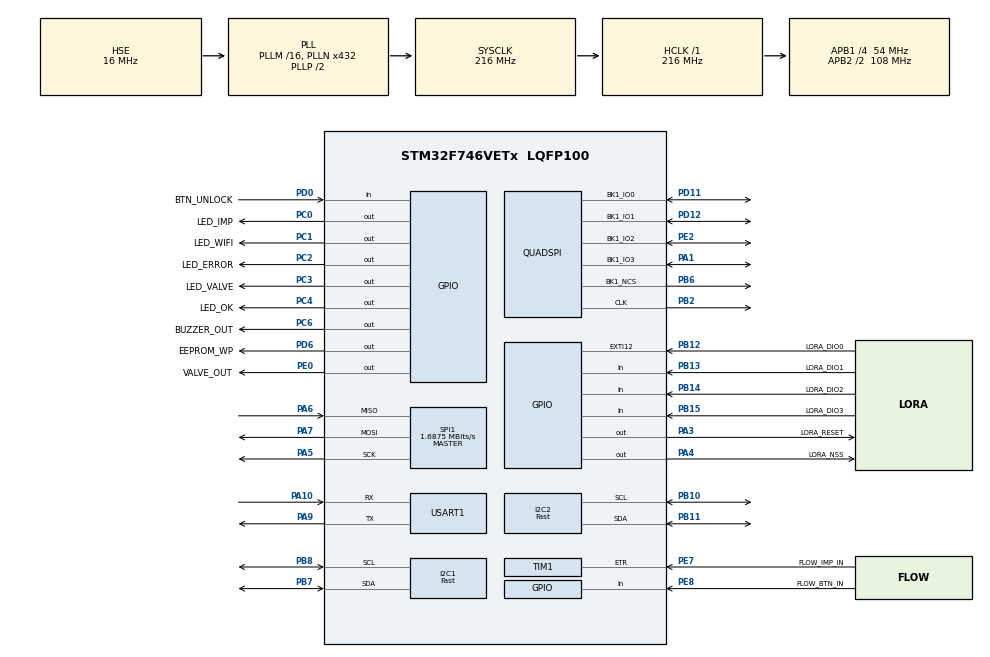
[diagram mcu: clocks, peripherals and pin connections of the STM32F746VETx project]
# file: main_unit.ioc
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CORTEX_M7.MPU_Control=__NULL
CORTEX_M7.default_mode_Activation=1
I2C1.I2C_Speed_Mode=I2C_Fast
I2C1.Timing=0x6000030D
I2C2.I2C_Speed_Mode=I2C_Fast
I2C2.Timing=0x6000030D
Mcu.Family=STM32F7
Mcu.Name=STM32F746VETx
Mcu.Package=LQFP100
NVIC.EXTI15_10_IRQn=true\:0\:0\:false\:false\:true\:true\:true\:true
NVIC.PriorityGroup=NVIC_PRIORITYGROUP_4
NVIC.USART1_IRQn=true\:0\:0\:false\:false\:true\:true\:true\:true
PA1.Mode=Single Bank 1
PA1.Signal=QUADSPI_BK1_IO3
PA10.Mode=Asynchronous
PA10.Signal=USART1_RX
PA11.Signal=USART1_CTS
PA12.Signal=USART1_RTS
PA13.Mode=Serial_Wire
PA13.Signal=SYS_JTMS-SWDIO
PA14.Mode=Serial_Wire
PA14.Signal=SYS_JTCK-SWCLK
PA3.GPIO_Label=LORA_RESET
PA3.PinState=GPIO_PIN_SET
PA3.Signal=GPIO_Output
PA4.GPIO_Label=LORA_NSS
PA4.GPIO_PuPd=GPIO_PULLUP
PA4.PinState=GPIO_PIN_SET
PA4.Signal=GPIO_Output
PA5.GPIO_Speed=GPIO_SPEED_FREQ_HIGH
PA5.Mode=Full_Duplex_Master
PA5.Signal=SPI1_SCK
PA6.GPIO_PuPd=GPIO_PULLUP
PA6.GPIO_Speed=GPIO_SPEED_FREQ_HIGH
PA6.Mode=Full_Duplex_Master
PA6.Signal=SPI1_MISO
PA7.GPIO_Speed=GPIO_SPEED_FREQ_HIGH
PA7.Mode=Full_Duplex_Master
PA7.Signal=SPI1_MOSI
PA9.Mode=Asynchronous
PA9.Signal=USART1_TX
PB10.Mode=I2C
PB10.Signal=I2C2_SCL
PB11.Mode=I2C
PB11.Signal=I2C2_SDA
PB12.GPIO_Label=LORA_DIO0
PB12.Signal=GPXTI12
PB13.GPIO_Label=LORA_DIO1
PB13.Signal=GPIO_Input
PB14.GPIO_Label=LORA_DIO2
PB14.Signal=GPIO_Input
PB15.GPIO_Label=LORA_DIO3
PB15.Signal=GPIO_Input
PB2.Mode=Single Bank 1
PB2.Signal=QUADSPI_CLK
PB6.Mode=Single Bank 1
PB6.Signal=QUADSPI_BK1_NCS
PB7.Mode=I2C
PB7.Signal=I2C1_SDA
PB8.Mode=I2C
PB8.Signal=I2C1_SCL
PC0.GPIO_Label=LED_IMP
PC0.Signal=GPIO_Output
PC1.GPIO_Label=LED_WIFI
PC1.Signal=GPIO_Output
PC14/OSC32_IN.Mode=LSE-External-Oscillator
PC14/OSC32_IN.Signal=RCC_OSC32_IN
PC15/OSC32_OUT.Mode=LSE-External-Oscillator
PC15/OSC32_OUT.Signal=RCC_OSC32_OUT
PC2.GPIO_Label=LED_ERROR
PC2.Signal=GPIO_Output
PC3.GPIO_Label=LED_VALVE
PC3.Signal=GPIO_Output
PC4.GPIO_Label=LED_OK
PC4.Signal=GPIO_Output
PC6.GPIO_Label=BUZZER_OUT
PC6.Signal=GPIO_Output
PD0.GPIO_Label=BTN_UNLOCK
PD0.GPIO_PuPd=GPIO_PULLUP
PD0.Signal=GPIO_Input
PD11.Mode=Single Bank 1
PD11.Signal=QUADSPI_BK1_IO0
PD12.Mode=Single Bank 1
PD12.Signal=QUADSPI_BK1_IO1
PD6.GPIO_Label=EEPROM_WP
PD6.Signal=GPIO_Output
PE0.GPIO_Label=VALVE_OUT
PE0.Signal=GPIO_Output
PE2.Mode=Single Bank 1
PE2.Signal=QUADSPI_BK1_IO2
PE7.GPIO_Label=FLOW_IMP_IN
PE7.Signal=S_TIM1_ETR
PE8.GPIO_Label=FLOW_BTN_IN
PE8.Signal=GPIO_Input
PH0/OSC_IN.Mode=HSE-External-Oscillator
PH0/OSC_IN.Signal=RCC_OSC_IN
PH1/OSC_OUT.Mode=HSE-External-Oscillator
PH1/OSC_OUT.Signal=RCC_OSC_OUT
ProjectManager.HeapSize=0x200
ProjectManager.StackSize=0x400
ProjectManager.TargetToolchain=STM32CubeIDE
QUADSPI.ClockPrescaler=3
QUADSPI.FlashSize=21
QUADSPI.SampleShifting=QSPI_SAMPLE_SHIFTING_HALFCYCLE
RCC.AHBFreq_Value=216000000
RCC.APB1CLKDivider=RCC_HCLK_DIV4
RCC.APB1Freq_Value=54000000
RCC.APB1TimFreq_Value=108000000
RCC.APB2CLKDivider=RCC_HCLK_DIV2
RCC.APB2Freq_Value=108000000
RCC.APB2TimFreq_Value=216000000
RCC.CortexFreq_Value=216000000
RCC.HCLKFreq_Value=216000000
RCC.HSE_VALUE=16000000
RCC.HSI_VALUE=16000000
RCC.PLLN=432
RCC.PLLSourceVirtual=RCC_PLLSOURCE_HSE
RCC.SYSCLKFreq_VALUE=216000000
RCC.SYSCLKSource=RCC_SYSCLKSOURCE_PLLCLK
RCC.USBFreq_Value=216000000
RCC.VCOOutputFreq_Value=432000000
SH.S_TIM1_ETR.0=TIM1_ETR,ClockSourceETR_Mode2
SPI1.BaudRatePrescaler=SPI_BAUDRATEPRESCALER_64
SPI1.CalculateBaudRate=1.6875 MBits/s
SPI1.DataSize=SPI_DATASIZE_8BIT
SPI1.Direction=SPI_DIRECTION_2LINES
SPI1.Mode=SPI_MODE_MASTER
SPI1.VirtualType=VM_MASTER
USART1.VirtualMode-Asynchronous=VM_ASYNC
board=custom

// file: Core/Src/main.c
/* USER CODE BEGIN Header */
/**
  ******************************************************************************
  * @file           : main.c
  * @brief          : Main program body
  ******************************************************************************
  * @attention
  *
  * Copyright (c) 2024 STMicroelectronics.
  * All rights reserved.
  *
  * This software is licensed under terms that can be found in the LICENSE file
  * in the root directory of this software component.
  * If no LICENSE file comes with this software, it is provided AS-IS.
  *
  ******************************************************************************
  */
/* USER CODE END Header */
#include "main.h"
#include "i2c.h"
#include "quadspi.h"
#include "spi.h"
#include "tim.h"
#include "usart.h"
#include "gpio.h"

/* USER CODE BEGIN Includes */
#include <string.h>
#include <stdio.h>
#include "quadspi_1.h"
#include "SX1278.h"
#include "ring_buffer.h"
/* USER CODE END Includes */

/* USER CODE BEGIN PD */
#define esp_uart huart1
#define ESP_TRANSMIT_BUFF_SIZE 64
#define ESP_PARSE_BUFF_SIZE 64

char echo_off[] = "ATE0";
char init_wifi[] = "AT+CWINIT=1";
char wifi_mode[] = "AT+CWMODE=1";
char wifi_no_autoconnect[] = "AT+CWAUTOCONN=0";
char wifi_connect[] = "AT+CWJAP=\"DM_TT\",\"W0B35d8y\"";
char ntp_pool[] = "AT+CIPSNTPCFG=1,2,\"pl.pool.ntp.org\"";
char query_time[] = "AT+CIPSNTPTIME?";
/* USER CODE END PD */

/* USER CODE BEGIN PV */
RingBuffer_t RxBuffer;
uint8_t UartRxTmp;
uint8_t NewLine;

SX1278_hw_t SX1278_hw;
SX1278_t SX1278;

uint8_t master = 0;
int ret;

char buffer[512];

int message;
int message_length;
/* USER CODE END PV */

void SystemClock_Config(void);
/* USER CODE BEGIN PFP */
void ESP_Transmit_Log(char* s);
void ESP_Receive_Log(char* s);

void ESP_Transmit(char* s);

char* EspGetLine(void);
void ESP_WaitForOK(void);
/* USER CODE END PFP */

/* USER CODE BEGIN 0 */
//uint8_t writebuf[] = "Hello world from QSPI";
// uint8_t writebuf[] = "Giga ZYGA";
// uint8_t Readbuf[100];
/* USER CODE END 0 */

int main(void)
{

  /* MCU Configuration--------------------------------------------------------*/

  /* Reset of all peripherals, Initializes the Flash interface and the Systick. */
  HAL_Init();

  /* Configure the system clock */
  SystemClock_Config();

  /* Initialize all configured peripherals */
  MX_GPIO_Init();
  MX_I2C1_Init();
  MX_I2C2_Init();
  MX_QUADSPI_Init();
  MX_SPI1_Init();
  MX_TIM1_Init();
  MX_USART1_UART_Init();
  /* USER CODE BEGIN 2 */
  /*if (HAL_GPIO_ReadPin(BTN_UNLOCK_GPIO_Port, BTN_UNLOCK_Pin) == GPIO_PIN_RESET)
  {
    HAL_GPIO_TogglePin(LED_VALVE_GPIO_Port, LED_VALVE_Pin);
  }

  if (HAL_GPIO_ReadPin(FLOW_BTN_IN_GPIO_Port, FLOW_BTN_IN_Pin) == GPIO_PIN_RESET)
  {
    HAL_GPIO_TogglePin(LED_WIFI_GPIO_Port, LED_WIFI_Pin);
  }

  HAL_UART_Receive_IT(&esp_uart, &UartRxTmp, 1);

  ESP_Transmit("AT");
  ESP_WaitForOK();

  ESP_Transmit(echo_off);
  ESP_WaitForOK();

  ESP_Transmit(init_wifi);
  ESP_WaitForOK();

  ESP_Transmit(wifi_mode);
  ESP_WaitForOK();

  ESP_Transmit(wifi_no_autoconnect);
  ESP_WaitForOK();

  ESP_Transmit(wifi_connect);
  ESP_WaitForOK();

  ESP_Transmit(ntp_pool);
  ESP_WaitForOK();

  ESP_Transmit(query_time);
  ESP_WaitForOK();

  ESP_Transmit(query_time);
  ESP_WaitForOK();*/

  HAL_GPIO_WritePin(LED_ERROR_GPIO_Port, LED_ERROR_Pin, GPIO_PIN_SET);

  //initialize LoRa module
  SX1278_hw.dio0.port = LORA_DIO0_GPIO_Port;
  SX1278_hw.dio0.pin = LORA_DIO0_Pin;
  SX1278_hw.nss.port = LORA_NSS_GPIO_Port;
  SX1278_hw.nss.pin = LORA_NSS_Pin;
  SX1278_hw.reset.port = LORA_RESET_GPIO_Port;
  SX1278_hw.reset.pin = LORA_RESET_Pin;
  SX1278_hw.spi = &hspi1;

  SX1278.hw = &SX1278_hw;

  printf("Configuring LoRa module\r\n");
  SX1278_init(&SX1278, SX1278_FREQ_433MHz, SX1278_POWER_20DBM, SX1278_LORA_SF_7,
              SX1278_LORA_BW_125KHZ, SX1278_LORA_CR_4_5, SX1278_LORA_CRC_DIS, 8, SX127X_SYNC_WORD);
  printf("Done configuring LoRaModule\r\n");

  if (master == 1)
  {
    SX1278_LoRaEntryTx(&SX1278, 16, 2000);
  }
  else
  {
    SX1278_LoRaEntryRx(&SX1278, 16, 2000);
  }

  HAL_GPIO_WritePin(LED_ERROR_GPIO_Port, LED_ERROR_Pin, GPIO_PIN_RESET);

  // if (CSP_QUADSPI_Init() != HAL_OK) Error_Handler();

  // if (CSP_QSPI_Erase_Chip() != HAL_OK) Error_Handler();

  // if (CSP_QSPI_EnableMemoryMappedMode() != HAL_OK) Error_Handler();

  // HAL_QSPI_Abort(&hqspi);

  // if (CSP_QSPI_WriteMemory(writebuf, 0, sizeof(writebuf)) != HAL_OK) Error_Handler();

  // if (CSP_QSPI_EnableMemoryMappedMode() != HAL_OK) Error_Handler();

  //  if (CSP_QSPI_Read(Readbuf, 0, 100) != HAL_OK) Error_Handler();

  // memcpy(Readbuf, (uint8_t *) 0x90000000, sizeof(writebuf));

  /*if (HAL_I2C_Mem_Write(&hi2c2, 0xA0, 0, sizeof(uint16_t), writebuf, sizeof(writebuf), 1000) == HAL_OK)
  {
    HAL_GPIO_TogglePin(LED_OK_GPIO_Port, LED_OK_Pin);
  }*/
  /*char wbuf[30] = {0};
  if (HAL_I2C_Mem_Read(&hi2c2, 0xA0, 0, sizeof(uint16_t), wbuf, sizeof(wbuf), 1000) == HAL_OK)
  {
    HAL_GPIO_TogglePin(LED_ERROR_GPIO_Port, LED_ERROR_Pin);
  }*/
  /* USER CODE END 2 */

  /* Infinite loop */
  /* USER CODE BEGIN WHILE */
  /*for (uint16_t i = 0; i < 500; i++)
  {
    // HAL_GPIO_TogglePin(BUZZER_OUT_GPIO_Port, BUZZER_OUT_Pin);
    HAL_GPIO_TogglePin(VALVE_OUT_GPIO_Port, VALVE_OUT_Pin);
    HAL_GPIO_TogglePin(LED_IMP_GPIO_Port, LED_IMP_Pin);
    HAL_Delay(1000);
  }*/

  while (1)
  {
    if (master == 1)
    {
      printf("Master ...\r\n");
      HAL_Delay(1000);
      printf("Sending package...\r\n");

      message_length = sprintf(buffer, "Hello %d", message);
      ret = SX1278_LoRaEntryTx(&SX1278, message_length, 2000);
      printf("Entry: %d\r\n", ret);

      printf("Sending %s\r\n", buffer);
      ret = SX1278_LoRaTxPacket(&SX1278, (uint8_t*) buffer, message_length, 2000);
      message += 1;

      printf("Transmission: %d\r\n", ret);
      printf("Package sent...\r\n");
    }
    else
    {
      HAL_GPIO_WritePin(LED_OK_GPIO_Port, LED_OK_Pin, GPIO_PIN_SET);
      HAL_Delay(100);
      HAL_GPIO_WritePin(LED_OK_GPIO_Port, LED_OK_Pin, GPIO_PIN_RESET);

      printf("Slave ...\r\n");
      HAL_Delay(800);
      printf("Receiving package...\r\n");

      memset(buffer, 0, sizeof(buffer));

      ret = SX1278_LoRaRxPacket(&SX1278);

      if (ret > 0) {
        SX1278_read(&SX1278, (uint8_t*) buffer, ret);
        // printf("Received: %d\r\n", ret);
        // printf("Content (%d): %s\r\n", ret, buffer);

        for (uint8_t i = 0; i < 5; i++)
        {
          HAL_GPIO_TogglePin(LED_VALVE_GPIO_Port, LED_VALVE_Pin);
          HAL_Delay(100);
        }

        SX1278_LoRaEntryRx(&SX1278, 16, 2000);
      }
    }

    /*HAL_GPIO_TogglePin(LED_WIFI_GPIO_Port, LED_WIFI_Pin);
    HAL_Delay(1000);
    HAL_GPIO_TogglePin(LED_ERROR_GPIO_Port, LED_ERROR_Pin);
    HAL_Delay(1000);
    HAL_GPIO_TogglePin(LED_OK_GPIO_Port, LED_OK_Pin);
    HAL_Delay(1000);
    HAL_GPIO_TogglePin(LED_VALVE_GPIO_Port, LED_VALVE_Pin);
    HAL_Delay(1000);
    HAL_GPIO_TogglePin(LED_IMP_GPIO_Port, LED_IMP_Pin);
    HAL_Delay(1000);*/
    /* USER CODE END WHILE */

  }
}

void SystemClock_Config(void)
{
  RCC_OscInitTypeDef RCC_OscInitStruct = {0};
  RCC_ClkInitTypeDef RCC_ClkInitStruct = {0};

  /** Configure LSE Drive Capability
  */
  HAL_PWR_EnableBkUpAccess();

  /** Configure the main internal regulator output voltage
  */
  __HAL_RCC_PWR_CLK_ENABLE();
  __HAL_PWR_VOLTAGESCALING_CONFIG(PWR_REGULATOR_VOLTAGE_SCALE1);

  /** Initializes the RCC Oscillators according to the specified parameters
  * in the RCC_OscInitTypeDef structure.
  */
  RCC_OscInitStruct.OscillatorType = RCC_OSCILLATORTYPE_HSE;
  RCC_OscInitStruct.HSEState = RCC_HSE_ON;
  RCC_OscInitStruct.PLL.PLLState = RCC_PLL_ON;
  RCC_OscInitStruct.PLL.PLLSource = RCC_PLLSOURCE_HSE;
  RCC_OscInitStruct.PLL.PLLM = 16;
  RCC_OscInitStruct.PLL.PLLN = 432;
  RCC_OscInitStruct.PLL.PLLP = RCC_PLLP_DIV2;
  RCC_OscInitStruct.PLL.PLLQ = 2;
  if (HAL_RCC_OscConfig(&RCC_OscInitStruct) != HAL_OK)
  {
    Error_Handler();
  }

  /** Activate the Over-Drive mode
  */
  if (HAL_PWREx_EnableOverDrive() != HAL_OK)
  {
    Error_Handler();
  }

  /** Initializes the CPU, AHB and APB buses clocks
  */
  RCC_ClkInitStruct.ClockType = RCC_CLOCKTYPE_HCLK|RCC_CLOCKTYPE_SYSCLK
                              |RCC_CLOCKTYPE_PCLK1|RCC_CLOCKTYPE_PCLK2;
  RCC_ClkInitStruct.SYSCLKSource = RCC_SYSCLKSOURCE_PLLCLK;
  RCC_ClkInitStruct.AHBCLKDivider = RCC_SYSCLK_DIV1;
  RCC_ClkInitStruct.APB1CLKDivider = RCC_HCLK_DIV4;
  RCC_ClkInitStruct.APB2CLKDivider = RCC_HCLK_DIV2;

  if (HAL_RCC_ClockConfig(&RCC_ClkInitStruct, FLASH_LATENCY_7) != HAL_OK)
  {
    Error_Handler();
  }
}

/* USER CODE BEGIN 4 */
void ESP_Transmit_Log(char* s)
{
  // HAL_UART_Transmit(&huart2, (uint8_t*)"T: ", 4, 1000);
  // HAL_UART_Transmit(&huart2, (uint8_t*)s, strlen((char*)s), 1000);
}

void ESP_Receive_Log(char* s)
{
  // HAL_UART_Transmit(&huart2, (uint8_t*)"R: ", 4, 1000);
  // HAL_UART_Transmit(&huart2, (uint8_t*)s, strlen((char*)s), 1000);
  // HAL_UART_Transmit(&huart2, (uint8_t*)"\r\n", 4, 1000);
}

void ESP_Transmit(char* s)
{
  uint8_t Tmp[ESP_TRANSMIT_BUFF_SIZE] = {};
  strcat(Tmp, (char*)s);
  strcat(Tmp, "\r\n");
  ESP_Transmit_Log(Tmp);
  HAL_UART_Transmit(&esp_uart, (uint8_t*)Tmp, strlen(Tmp), 1000);
}

void HAL_UART_RxCpltCallback(UART_HandleTypeDef *huart)
{
  if (huart == &esp_uart)
  {
    RB_Write(&RxBuffer, UartRxTmp);

    if (UartRxTmp == '\n')
    {
      NewLine++;
    }
    HAL_UART_Receive_IT(&esp_uart, &UartRxTmp, 1);
  }
}

char* EspGetLine(void)
{
  if (NewLine)
  {
    static char BuffTmp[ESP_PARSE_BUFF_SIZE];
    uint16_t i = 0;

    while (i < ESP_PARSE_BUFF_SIZE)
    {
      RB_Read(&RxBuffer, (uint8_t*)&BuffTmp[i]);

      if (BuffTmp[i] == '\r')
      {
        BuffTmp[i] = '\0';
      }

      if (BuffTmp[i] == '\n')
      {
        BuffTmp[i] = '\0';
        break;
      }
      i++;
    }
    NewLine--;

    return BuffTmp;
  }
  return 0;
}

void ESP_WaitForOK(void)
{
  char* BufferToParse;

  while (1)
  {
    BufferToParse = EspGetLine();

    if (BufferToParse)
    {
      ESP_Receive_Log(BufferToParse);

      if (0 == strncmp((char*)BufferToParse, "OK", ESP_PARSE_BUFF_SIZE))
      {
        break;
      }
    }
  }
}
/* USER CODE END 4 */

void Error_Handler(void)
{
  __disable_irq();
  while (1)
  {
  }
}
